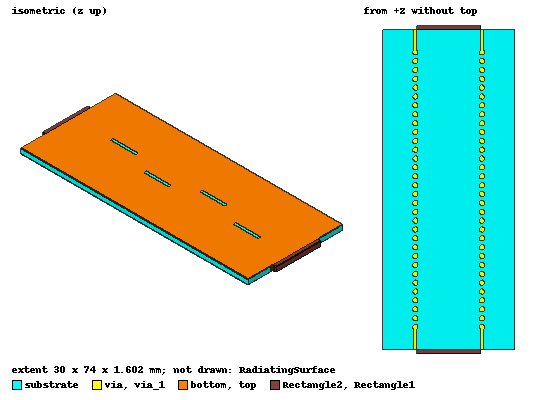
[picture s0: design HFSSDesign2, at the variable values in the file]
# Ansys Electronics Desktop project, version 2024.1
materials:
  vacuum: permittivity=1
  Rogers RT/duroid 5880 (tm): permittivity=2.2 dielectric_loss_tangent=0.0009
  copper: permeability=0.999991 conductivity=58000000
  pec: conductivity=1e+30

design HFSSDesign2 (HFSS, HFSS Modal Network, model units mm)
options: Save_Adaptive_support_files
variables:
  thickness = 1.5mm
  a = 15mm
  length = (m-1)*p+2*start_gap
  d = 1.2mm
  start_gap = 5mm
  m = 32
  p = 2mm
  w = 0.85mm
  slot_l = 8mm
  initial_gap = 28mm/4
  s = 1.8mm
  slot_gap = 28.3mm/2
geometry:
  substrate [Rogers RT/duroid 5880 (tm)] = box(corner=(-a, 0mm, 0mm), size=(2*a, length, thickness))
  via [copper] = cylinder(axis=Z, base_centre=(a/2, start_gap, 0mm), radius=d/2, height=thickness)
  via.duplicate_along_line(step=(0mm, p, 0mm), total=m, attached)
  via_1 [copper] = via.duplicate_mirror(point=(0mm, 0mm, 0mm), normal=(-1mm, 0mm, 0mm))
  Box1 = box(corner=(-d/4+a/2, 0mm, 0mm), size=(d/2, start_gap, thickness))
  Box1_1 = Box1.duplicate_mirror(point=(0mm, 0mm, 0mm), normal=(-1mm, 0mm, 0mm))
  Box2 = box(corner=(-d/4+a/2, (m-1)*p+2*start_gap, 0mm), size=(d/2, -start_gap, thickness))
  Box2_1 = Box2.duplicate_mirror(point=(0mm, 48mm, 0mm), normal=(-1mm, 0mm, 0mm))
  top [copper] = box(corner=(-a, 0mm, thickness), size=(2*a, length, 0.0508mm))
  bottom [copper] = box(corner=(-a, 0mm, 0), size=(2*a, length, -0.0508mm))
  via_1.unite(Box2_1, Box1_1)
  via.unite(Box2, Box1)
  slot1 = box(corner=(-w/2-s, start_gap+initial_gap, thickness), size=(w, slot_l, 0.0508mm))
  slot2 = box(corner=(-w/2+s, start_gap+initial_gap+slot_gap, thickness), size=(w, slot_l, 0.0508mm))
  slot3 = box(corner=(-w/2-s, start_gap+initial_gap+2*slot_gap, thickness), size=(w, slot_l, 0.0508mm))
  slot4 = box(corner=(-w/2+s, start_gap+initial_gap+3*slot_gap, thickness), size=(w, slot_l, 0.0508mm))
  slot1_1 = slot1.copy()
  slot1.delete()
  slot2_1 = slot2.copy()
  slot2.delete()
  slot3_1 = slot3.copy()
  slot3.delete()
  slot4_1 = slot4.copy()
  slot4.delete()
  top.subtract(slot1_1, slot2_1, slot3_1, slot4_1)
  via_2 = via.copy()
  via_1_1 = via_1.copy()
  substrate.subtract(via_2, via_1_1)
  coordinate_system RelativeCS1 = origin=(0mm, 0mm, 0mm) x=(0mm, 0mm, 1mm) y=(-1mm, 0mm, 0mm)
  Rectangle1 [pec] = rectangle(corner=(0mm, -(-a+d/2)/2, 0mm), x_size=thickness, y_size=-a+d/2) in RelativeCS1
  Rectangle2 [pec] = rectangle(corner=(0mm, -(-a+d/2)/2, -length), x_size=thickness, y_size=-a+d/2) in RelativeCS1
  Rectangle2.sweep_along_vector((0mm, 1mm, 0mm))
  Rectangle1.sweep_along_vector((0mm, -1mm, 0mm))
  coordinate_system RelativeCS2 = origin=(0mm, 0mm, 0mm) x=(0mm, 0mm, 1mm) y=(-1mm, 0mm, 0mm)
  p1 [pec] = rectangle(corner=(0mm, -(-a+d/2)/2, 0mm), x_size=thickness, y_size=-a+d/2) in RelativeCS2
  p2 [pec] = rectangle(corner=(0mm, -(-a+d/2)/2, -length), x_size=thickness, y_size=-a+d/2) in RelativeCS2
  RadiatingSurface [vacuum] = region(absolute_offset=12.5mm on all sides)
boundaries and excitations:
  Open1: Radiation Objects=RadiatingSurface
  1: Wave Port Objects=p1 WavePortType=Modal NumModes=1 Modes{Mode1{CharImp=Zpi}}
  2: Wave Port Objects=p2 WavePortType=Modal NumModes=1 Modes{Mode1{CharImp=Zpi}}
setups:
  Setup1: HfssDriven Frequency=10GHz MaxDeltaS=0.02 MaximumPasses=10 MinimumPasses=1 MinimumConvergedPasses=1 PercentRefinement=30 BasisOrder=1 PortAccuracy=2 DrivenSolverType="Direct Solver"
    sweep Sweep: 7GHz to 13GHz, 601 points; Type=Fast SaveFields
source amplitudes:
  1:1: 1W 0deg
  2:1: 0W 0deg
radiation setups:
  3D: Infinite Sphere Theta=0deg..180deg step 2deg Phi=-180deg..180deg step 2deg
  Elevation: Infinite Sphere Theta=-180deg..180deg step 1deg Phi=0deg..90deg step 90deg
  Azimuth: Infinite Sphere Theta=90deg..90deg step 0deg Phi=-180deg..180deg step 1deg
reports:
  S Parameter Plot: dB(S(1,1)), -10 vs Freq on Setup1 : Sweep; markers m1 at 10GHz
  Gain Plot: dB(GainTotal) vs Theta on Setup1 : LastAdaptive, Elevation [Phi=all Freq=10GHz]; markers m1 at 0deg, m2 at 47deg
  Gain Plot 1: dB10normalize(GainTotal) vs Theta on Setup1 : LastAdaptive, Elevation [Phi=all Freq=10GHz]
  Smith Chart: S(1,1) on Setup1 : Sweep [Freq=8GHz,8.01GHz,8.02GHz,8.03GHz,8.04GHz,8.05GHz,8.06GHz,8.07GHz,8.08GHz,8.09GHz,8.1GHz,8.11GHz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]
  Gain Plot 2: dB(GainTotal) vs Phi, Theta on Setup1 : LastAdaptive, 3D [Freq=10GHz]
